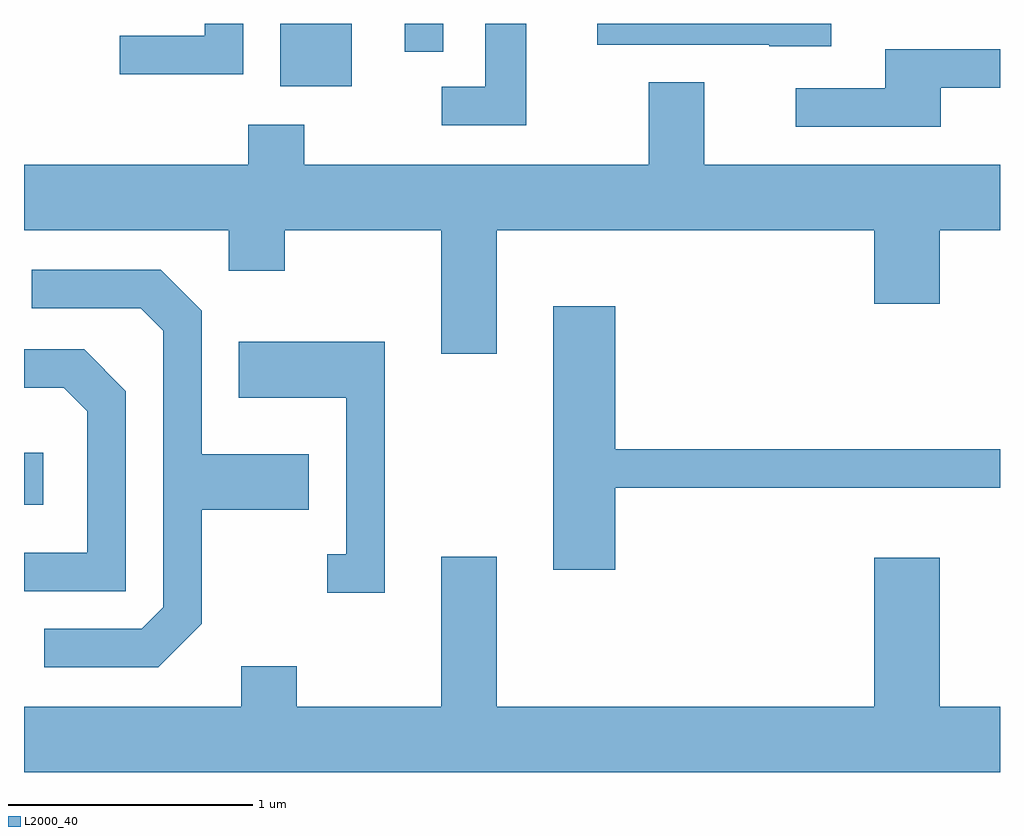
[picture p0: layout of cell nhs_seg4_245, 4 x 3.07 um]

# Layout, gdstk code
import gdstk
lib = gdstk.Library(unit=1e-6, precision=1e-09)
def R(c, l, rs):  # rectangles x0, y0, x1, y1
    for r in rs: c.add(gdstk.rectangle(r[:2], r[2:], *l))
def P(c, l, *ps):  # polygons
    for p in ps: c.add(gdstk.Polygon(p, *l))
L2000_40 = (2000, 40)

nhs_seg4_245 = lib.new_cell('nhs_seg4_245')
R(nhs_seg4_245, L2000_40, [(191.611,1338.011,191.689,1338.224), (192.661,1339.726,192.954,1339.982), (193.171,1339.868,193.329,1339.982)])
P(nhs_seg4_245, L2000_40, [(192.509,1339.982),(192.351,1339.982),(192.351,1339.934),(192.003,1339.934),(192.003,1339.776),(192.509,1339.776)],
  [(194.919,1339.982),(193.961,1339.982),(193.961,1339.896),(194.665,1339.896),(194.665,1339.891),(194.919,1339.891)],
  [(193.669,1339.982),(193.501,1339.982),(193.501,1339.724),(193.323,1339.724),(193.323,1339.566),(193.669,1339.566)],
  [(195.369,1339.721),(195.611,1339.721),(195.611,1339.879),(195.141,1339.879),(195.141,1339.719),(194.773,1339.719),(194.773,1339.561),(195.369,1339.561)],
  [(193.549,1339.136),(195.096,1339.136),(195.096,1338.836),(195.364,1338.836),(195.364,1339.136),(195.611,1339.136),(195.611,1339.404),(194.399,1339.404),(194.399,1339.744),(194.171,1339.744),(194.171,1339.404),(192.759,1339.404),(192.759,1339.569),(192.531,1339.569),(192.531,1339.404),(191.611,1339.404),(191.611,1339.136),(192.451,1339.136),(192.451,1338.971),(192.679,1338.971),(192.679,1339.136),(193.321,1339.136),(193.321,1338.631),(193.549,1338.631)],
  [(192.339,1337.524),(192.339,1337.991),(192.779,1337.991),(192.779,1338.219),(192.339,1338.219),(192.339,1338.807),(192.172,1338.974),(191.643,1338.974),(191.643,1338.816),(192.089,1338.816),(192.181,1338.724),(192.181,1337.592),(192.094,1337.504),(191.693,1337.504),(191.693,1337.346),(192.162,1337.346)],
  [(194.034,1338.081),(195.611,1338.081),(195.611,1338.239),(194.034,1338.239),(194.034,1338.824),(193.781,1338.824),(193.781,1337.746),(194.034,1337.746)],
  [(193.089,1338.679),(192.491,1338.679),(192.491,1338.451),(192.931,1338.451),(192.931,1337.809),(192.853,1337.809),(192.853,1337.651),(193.089,1337.651)],
  [(192.029,1338.477),(191.857,1338.649),(191.611,1338.649),(191.611,1338.491),(191.774,1338.491),(191.871,1338.394),(191.871,1337.814),(191.611,1337.814),(191.611,1337.656),(192.029,1337.656)],
  [(195.611,1337.184),(195.364,1337.184),(195.364,1337.794),(195.096,1337.794),(195.096,1337.184),(193.549,1337.184),(193.549,1337.799),(193.321,1337.799),(193.321,1337.184),(192.729,1337.184),(192.729,1337.349),(192.501,1337.349),(192.501,1337.184),(191.611,1337.184),(191.611,1336.916),(195.611,1336.916)])

lib.write_gds('nhs_seg4_245.gds')
